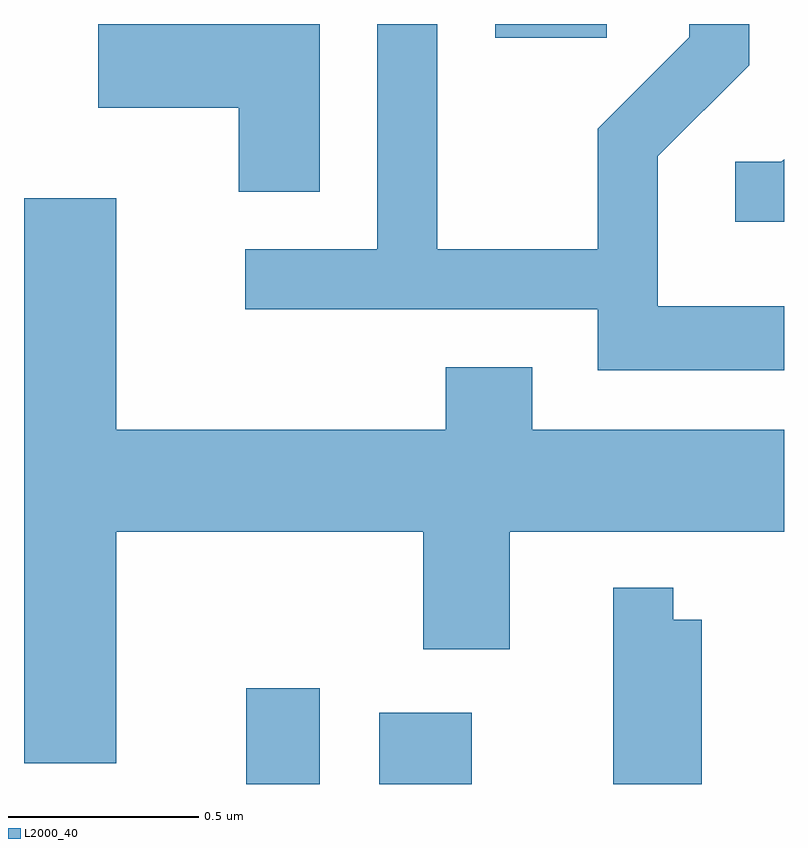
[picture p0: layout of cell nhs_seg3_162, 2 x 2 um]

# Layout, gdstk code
import gdstk
lib = gdstk.Library(unit=1e-6, precision=1e-09)
def R(c, l, rs):  # rectangles x0, y0, x1, y1
    for r in rs: c.add(gdstk.rectangle(r[:2], r[2:], *l))
def P(c, l, *ps):  # polygons
    for p in ps: c.add(gdstk.Polygon(p, *l))
L2000_40 = (2000, 40)

nhs_seg3_162 = lib.new_cell('nhs_seg3_162')
R(nhs_seg3_162, L2000_40, [(187.196,1140.892,187.389,1141.144), (187.546,1140.892,187.789,1141.079), (187.851,1142.856,188.144,1142.892)])
P(nhs_seg3_162, L2000_40, [(187.389,1142.892),(186.806,1142.892),(186.806,1142.671),(187.176,1142.671),(187.176,1142.451),(187.389,1142.451)],
  [(188.611,1142.149),(188.279,1142.149),(188.279,1142.544),(188.519,1142.784),(188.519,1142.892),(188.361,1142.892),(188.361,1142.857),(188.121,1142.617),(188.121,1142.299),(187.699,1142.299),(187.699,1142.892),(187.541,1142.892),(187.541,1142.299),(187.193,1142.299),(187.193,1142.141),(188.121,1142.141),(188.121,1141.981),(188.611,1141.981)],
  [(188.611,1142.536),(188.604,1142.529),(188.483,1142.529),(188.483,1142.371),(188.611,1142.371)],
  [(186.854,1141.556),(187.661,1141.556),(187.661,1141.246),(187.889,1141.246),(187.889,1141.556),(188.611,1141.556),(188.611,1141.824),(187.949,1141.824),(187.949,1141.989),(187.721,1141.989),(187.721,1141.824),(186.854,1141.824),(186.854,1142.434),(186.611,1142.434),(186.611,1140.946),(186.854,1140.946)],
  [(188.394,1141.324),(188.319,1141.324),(188.319,1141.408),(188.161,1141.408),(188.161,1140.892),(188.394,1140.892)])

lib.write_gds('nhs_seg3_162.gds')
